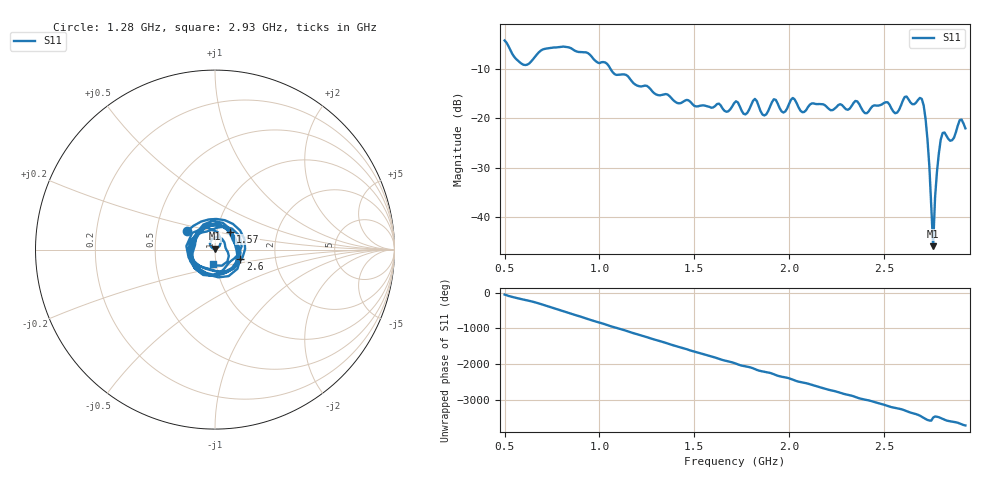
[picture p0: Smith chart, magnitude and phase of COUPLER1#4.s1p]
#  HZ  S  DB  R  50.0
! Rohde & Schwarz ZVL
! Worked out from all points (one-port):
!   244 points, 500 MHz to 2.93 GHz, reference 50 ohm
!   lowest |S11| = -45.8 dB at 2.76 GHz (marker M1), VSWR 1.01, Z = 49.7 + j0.442 ohm
!   |S11| at or under -10 dB: 1.058 GHz to end of sweep
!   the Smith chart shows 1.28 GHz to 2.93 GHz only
!   S11 on the Smith chart (normalised r, x): 1.28 GHz: 0.72, +0.15; 1.57 GHz: 1.16, +0.24; 2.6 GHz: 1.32, -0.14; 2.93 GHz: 0.96, -0.15
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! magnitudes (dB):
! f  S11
! 500 MHz  -4.3
! 610 MHz  -9.2
! 810 MHz  -5.5
! 1.11 GHz  -11.2
! 1.28 GHz  -14.6
! 1.42 GHz  -17.0
! 1.57 GHz  -17.6
! 1.72 GHz  -16.6
! 1.77 GHz  -19.2
! 1.82 GHz  -16.1
! 1.87 GHz  -19.4
! 1.92 GHz  -16.1
! 1.97 GHz  -18.8
! 2.02 GHz  -15.9
! 2.07 GHz  -18.8
! 2.33 GHz  -17.5
! 2.52 GHz  -16.7
! 2.56 GHz  -19.0
! 2.6 GHz  -16.4
! 2.63 GHz  -16.2
! 2.71 GHz  -17.4
! 2.74 GHz  -29.7
! 2.76 GHz  -45.8
! 2.77 GHz  -36.0
! 2.8 GHz  -24.3
! 2.86 GHz  -24.4
! 2.9 GHz  -20.4
! 2.93 GHz  -22.0
